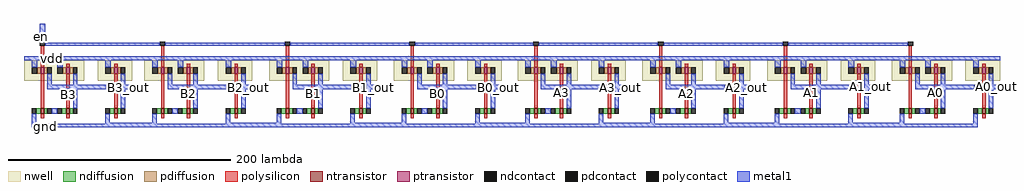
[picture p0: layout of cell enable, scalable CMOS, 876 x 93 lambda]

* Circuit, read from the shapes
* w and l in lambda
.subckt enable A0 A0_out A1 A1_out A2 A2_out A3 A3_out B0 B0_out B1 B1_out B2 B2_out B3 B3_out en gnd vdd
M1 n1 en gnd VSUBS nfet w=5 l=3
M2 n2 B3 n1 VSUBS nfet w=5 l=3
M3 B3_out n2 gnd VSUBS nfet w=5 l=3
M4 n3 en gnd VSUBS nfet w=5 l=3
M5 n4 B2 n3 VSUBS nfet w=5 l=3
M6 B2_out n4 gnd VSUBS nfet w=5 l=3
M7 n5 en gnd VSUBS nfet w=5 l=3
M8 n6 B1 n5 VSUBS nfet w=5 l=3
M9 B1_out n6 gnd VSUBS nfet w=5 l=3
M10 n7 en gnd VSUBS nfet w=5 l=3
M11 n8 B0 n7 VSUBS nfet w=5 l=3
M12 B0_out n8 gnd VSUBS nfet w=5 l=3
M13 n9 en gnd VSUBS nfet w=5 l=3
M14 n10 A3 n9 VSUBS nfet w=5 l=3
M15 A3_out n10 gnd VSUBS nfet w=5 l=3
M16 n11 en gnd VSUBS nfet w=5 l=3
M17 n12 A2 n11 VSUBS nfet w=5 l=3
M18 A2_out n12 gnd VSUBS nfet w=5 l=3
M19 n13 en gnd VSUBS nfet w=5 l=3
M20 n14 A1 n13 VSUBS nfet w=5 l=3
M21 A1_out n14 gnd VSUBS nfet w=5 l=3
M22 n15 en gnd VSUBS nfet w=5 l=3
M23 n16 A0 n15 VSUBS nfet w=5 l=3
M24 A0_out n16 gnd VSUBS nfet w=5 l=3
M25 n2 en vdd n17 pfet w=6 l=3
M26 n2 B3 vdd n17 pfet w=6 l=3
M27 B3_out n2 vdd n18 pfet w=6 l=3
M28 n4 en vdd n19 pfet w=6 l=3
M29 n4 B2 vdd n19 pfet w=6 l=3
M30 B2_out n4 vdd n20 pfet w=6 l=3
M31 n6 en vdd n21 pfet w=6 l=3
M32 n6 B1 vdd n21 pfet w=6 l=3
M33 B1_out n6 vdd n22 pfet w=6 l=3
M34 n8 en vdd n23 pfet w=6 l=3
M35 n8 B0 vdd n23 pfet w=6 l=3
M36 B0_out n8 vdd n24 pfet w=6 l=3
M37 n10 en vdd n25 pfet w=6 l=3
M38 n10 A3 vdd n25 pfet w=6 l=3
M39 A3_out n10 vdd n26 pfet w=6 l=3
M40 n12 en vdd n27 pfet w=6 l=3
M41 n12 A2 vdd n27 pfet w=6 l=3
M42 A2_out n12 vdd n28 pfet w=6 l=3
M43 n14 en vdd n29 pfet w=6 l=3
M44 n14 A1 vdd n29 pfet w=6 l=3
M45 A1_out n14 vdd n30 pfet w=6 l=3
M46 n16 en vdd n31 pfet w=6 l=3
M47 n16 A0 vdd n31 pfet w=6 l=3
M48 A0_out n16 vdd n32 pfet w=6 l=3
.ends

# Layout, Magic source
magic
tech scmos
<< nwell >>
rect 44 32 98 50
rect 110 32 141 50
rect 152 32 206 50
rect 218 32 249 50
rect 264 32 318 50
rect 330 32 361 50
rect 376 32 430 50
rect 442 32 473 50
rect 487 32 541 50
rect 553 32 584 50
rect 599 32 653 50
rect 665 32 696 50
rect 711 32 765 50
rect 777 32 808 50
rect 823 32 877 50
rect 889 32 920 50
<< ntransistor >>
rect 59 2 62 7
rect 82 2 85 7
rect 125 2 128 7
rect 167 2 170 7
rect 190 2 193 7
rect 233 2 236 7
rect 279 2 282 7
rect 302 2 305 7
rect 345 2 348 7
rect 391 2 394 7
rect 414 2 417 7
rect 457 2 460 7
rect 502 2 505 7
rect 525 2 528 7
rect 568 2 571 7
rect 614 2 617 7
rect 637 2 640 7
rect 680 2 683 7
rect 726 2 729 7
rect 749 2 752 7
rect 792 2 795 7
rect 838 2 841 7
rect 861 2 864 7
rect 904 2 907 7
<< ptransistor >>
rect 59 38 62 44
rect 82 38 85 44
rect 125 38 128 44
rect 167 38 170 44
rect 190 38 193 44
rect 233 38 236 44
rect 279 38 282 44
rect 302 38 305 44
rect 345 38 348 44
rect 391 38 394 44
rect 414 38 417 44
rect 457 38 460 44
rect 502 38 505 44
rect 525 38 528 44
rect 568 38 571 44
rect 614 38 617 44
rect 637 38 640 44
rect 680 38 683 44
rect 726 38 729 44
rect 749 38 752 44
rect 792 38 795 44
rect 838 38 841 44
rect 861 38 864 44
rect 904 38 907 44
<< ndiffusion >>
rect 55 2 59 7
rect 62 2 65 7
rect 78 2 82 7
rect 85 2 88 7
rect 121 2 125 7
rect 128 2 131 7
rect 163 2 167 7
rect 170 2 173 7
rect 186 2 190 7
rect 193 2 196 7
rect 229 2 233 7
rect 236 2 239 7
rect 275 2 279 7
rect 282 2 285 7
rect 298 2 302 7
rect 305 2 308 7
rect 341 2 345 7
rect 348 2 351 7
rect 387 2 391 7
rect 394 2 397 7
rect 410 2 414 7
rect 417 2 420 7
rect 453 2 457 7
rect 460 2 463 7
rect 498 2 502 7
rect 505 2 508 7
rect 521 2 525 7
rect 528 2 531 7
rect 564 2 568 7
rect 571 2 574 7
rect 610 2 614 7
rect 617 2 620 7
rect 633 2 637 7
rect 640 2 643 7
rect 676 2 680 7
rect 683 2 686 7
rect 722 2 726 7
rect 729 2 732 7
rect 745 2 749 7
rect 752 2 755 7
rect 788 2 792 7
rect 795 2 798 7
rect 834 2 838 7
rect 841 2 844 7
rect 857 2 861 7
rect 864 2 867 7
rect 900 2 904 7
rect 907 2 910 7
<< pdiffusion >>
rect 56 38 59 44
rect 62 38 65 44
rect 79 38 82 44
rect 85 38 88 44
rect 122 38 125 44
rect 128 38 131 44
rect 164 38 167 44
rect 170 38 173 44
rect 187 38 190 44
rect 193 38 196 44
rect 230 38 233 44
rect 236 38 239 44
rect 276 38 279 44
rect 282 38 285 44
rect 299 38 302 44
rect 305 38 308 44
rect 342 38 345 44
rect 348 38 351 44
rect 388 38 391 44
rect 394 38 397 44
rect 411 38 414 44
rect 417 38 420 44
rect 454 38 457 44
rect 460 38 463 44
rect 499 38 502 44
rect 505 38 508 44
rect 522 38 525 44
rect 528 38 531 44
rect 565 38 568 44
rect 571 38 574 44
rect 611 38 614 44
rect 617 38 620 44
rect 634 38 637 44
rect 640 38 643 44
rect 677 38 680 44
rect 683 38 686 44
rect 723 38 726 44
rect 729 38 732 44
rect 746 38 749 44
rect 752 38 755 44
rect 789 38 792 44
rect 795 38 798 44
rect 835 38 838 44
rect 841 38 844 44
rect 858 38 861 44
rect 864 38 867 44
rect 901 38 904 44
rect 907 38 910 44
<< ndcontact >>
rect 51 2 55 7
rect 65 2 69 7
rect 74 2 78 7
rect 88 2 92 7
rect 117 2 121 7
rect 131 2 135 7
rect 159 2 163 7
rect 173 2 177 7
rect 182 2 186 7
rect 196 2 200 7
rect 225 2 229 7
rect 239 2 243 7
rect 271 2 275 7
rect 285 2 289 7
rect 294 2 298 7
rect 308 2 312 7
rect 337 2 341 7
rect 351 2 355 7
rect 383 2 387 7
rect 397 2 401 7
rect 406 2 410 7
rect 420 2 424 7
rect 449 2 453 7
rect 463 2 467 7
rect 494 2 498 7
rect 508 2 512 7
rect 517 2 521 7
rect 531 2 535 7
rect 560 2 564 7
rect 574 2 578 7
rect 606 2 610 7
rect 620 2 624 7
rect 629 2 633 7
rect 643 2 647 7
rect 672 2 676 7
rect 686 2 690 7
rect 718 2 722 7
rect 732 2 736 7
rect 741 2 745 7
rect 755 2 759 7
rect 784 2 788 7
rect 798 2 802 7
rect 830 2 834 7
rect 844 2 848 7
rect 853 2 857 7
rect 867 2 871 7
rect 896 2 900 7
rect 910 2 914 7
<< pdcontact >>
rect 51 38 56 44
rect 65 38 69 44
rect 74 38 79 44
rect 88 38 92 44
rect 117 38 122 44
rect 131 38 135 44
rect 159 38 164 44
rect 173 38 177 44
rect 182 38 187 44
rect 196 38 200 44
rect 225 38 230 44
rect 239 38 243 44
rect 271 38 276 44
rect 285 38 289 44
rect 294 38 299 44
rect 308 38 312 44
rect 337 38 342 44
rect 351 38 355 44
rect 383 38 388 44
rect 397 38 401 44
rect 406 38 411 44
rect 420 38 424 44
rect 449 38 454 44
rect 463 38 467 44
rect 494 38 499 44
rect 508 38 512 44
rect 517 38 522 44
rect 531 38 535 44
rect 560 38 565 44
rect 574 38 578 44
rect 606 38 611 44
rect 620 38 624 44
rect 629 38 634 44
rect 643 38 647 44
rect 672 38 677 44
rect 686 38 690 44
rect 718 38 723 44
rect 732 38 736 44
rect 741 38 746 44
rect 755 38 759 44
rect 784 38 789 44
rect 798 38 802 44
rect 830 38 835 44
rect 844 38 848 44
rect 853 38 858 44
rect 867 38 871 44
rect 896 38 901 44
rect 910 38 914 44
<< polysilicon >>
rect 59 44 62 63
rect 82 44 85 47
rect 125 44 128 47
rect 167 44 170 63
rect 190 44 193 47
rect 233 44 236 47
rect 279 44 282 63
rect 302 44 305 47
rect 345 44 348 47
rect 391 44 394 63
rect 414 44 417 47
rect 457 44 460 47
rect 502 44 505 63
rect 525 44 528 47
rect 568 44 571 47
rect 614 44 617 63
rect 637 44 640 47
rect 680 44 683 47
rect 726 44 729 63
rect 749 44 752 47
rect 792 44 795 47
rect 838 44 841 63
rect 861 44 864 47
rect 904 44 907 47
rect 59 7 62 38
rect 82 7 85 38
rect 125 28 128 38
rect 123 24 128 28
rect 125 7 128 24
rect 167 7 170 38
rect 190 7 193 38
rect 233 28 236 38
rect 231 24 236 28
rect 233 7 236 24
rect 279 7 282 38
rect 302 7 305 38
rect 345 28 348 38
rect 343 24 348 28
rect 345 7 348 24
rect 391 7 394 38
rect 414 7 417 38
rect 457 28 460 38
rect 455 24 460 28
rect 457 7 460 24
rect 502 7 505 38
rect 525 7 528 38
rect 568 28 571 38
rect 566 24 571 28
rect 568 7 571 24
rect 614 7 617 38
rect 637 7 640 38
rect 680 28 683 38
rect 678 24 683 28
rect 680 7 683 24
rect 726 7 729 38
rect 749 7 752 38
rect 792 28 795 38
rect 790 24 795 28
rect 792 7 795 24
rect 838 7 841 38
rect 861 7 864 38
rect 904 28 907 38
rect 902 24 907 28
rect 904 7 907 24
rect 59 -2 62 2
rect 82 -2 85 2
rect 125 -2 128 2
rect 167 -2 170 2
rect 190 -2 193 2
rect 233 -2 236 2
rect 279 -2 282 2
rect 302 -2 305 2
rect 345 -2 348 2
rect 391 -2 394 2
rect 414 -2 417 2
rect 457 -2 460 2
rect 502 -2 505 2
rect 525 -2 528 2
rect 568 -2 571 2
rect 614 -2 617 2
rect 637 -2 640 2
rect 680 -2 683 2
rect 726 -2 729 2
rect 749 -2 752 2
rect 792 -2 795 2
rect 838 -2 841 2
rect 861 -2 864 2
rect 904 -2 907 2
<< polycontact >>
rect 58 63 63 67
rect 166 63 171 67
rect 278 63 283 67
rect 390 63 395 67
rect 501 63 506 67
rect 613 63 618 67
rect 725 63 730 67
rect 837 63 842 67
rect 118 24 123 28
rect 226 24 231 28
rect 338 24 343 28
rect 450 24 455 28
rect 561 24 566 28
rect 673 24 678 28
rect 785 24 790 28
rect 897 24 902 28
<< metal1 >>
rect 58 67 63 83
rect 63 63 166 66
rect 171 63 278 66
rect 283 63 390 66
rect 395 63 501 66
rect 506 63 613 66
rect 618 63 725 66
rect 730 63 837 66
rect 44 50 920 54
rect 51 44 56 50
rect 74 44 79 50
rect 117 44 122 50
rect 159 44 164 50
rect 182 44 187 50
rect 225 44 230 50
rect 271 44 276 50
rect 294 44 299 50
rect 337 44 342 50
rect 383 44 388 50
rect 406 44 411 50
rect 449 44 454 50
rect 494 44 499 50
rect 517 44 522 50
rect 560 44 565 50
rect 606 44 611 50
rect 629 44 634 50
rect 672 44 677 50
rect 718 44 723 50
rect 741 44 746 50
rect 784 44 789 50
rect 830 44 835 50
rect 853 44 858 50
rect 896 44 901 50
rect 65 28 69 38
rect 88 28 92 38
rect 131 28 135 38
rect 173 28 177 38
rect 196 28 200 38
rect 239 28 243 38
rect 285 28 289 38
rect 308 28 312 38
rect 351 28 355 38
rect 397 28 401 38
rect 420 28 424 38
rect 463 28 467 38
rect 508 28 512 38
rect 531 28 535 38
rect 574 28 578 38
rect 620 28 624 38
rect 643 28 647 38
rect 686 28 690 38
rect 732 28 736 38
rect 755 28 759 38
rect 798 28 802 38
rect 844 28 848 38
rect 867 28 871 38
rect 910 28 914 38
rect 65 24 118 28
rect 131 24 141 28
rect 173 24 226 28
rect 239 24 249 28
rect 285 24 338 28
rect 351 24 361 28
rect 397 24 450 28
rect 463 24 473 28
rect 508 24 561 28
rect 574 24 584 28
rect 620 24 673 28
rect 686 24 696 28
rect 732 24 785 28
rect 798 24 808 28
rect 844 24 897 28
rect 910 24 920 28
rect 88 7 92 24
rect 131 7 135 24
rect 196 7 200 24
rect 239 7 243 24
rect 308 7 312 24
rect 351 7 355 24
rect 420 7 424 24
rect 463 7 467 24
rect 531 7 535 24
rect 574 7 578 24
rect 643 7 647 24
rect 686 7 690 24
rect 755 7 759 24
rect 798 7 802 24
rect 867 7 871 24
rect 910 7 914 24
rect 69 2 74 7
rect 177 2 182 7
rect 289 2 294 7
rect 401 2 406 7
rect 512 2 517 7
rect 624 2 629 7
rect 736 2 741 7
rect 848 2 853 7
rect 51 -7 55 2
rect 117 -6 121 2
rect 159 -6 163 2
rect 117 -7 163 -6
rect 225 -6 229 2
rect 271 -6 275 2
rect 225 -7 275 -6
rect 337 -6 341 2
rect 383 -6 387 2
rect 337 -7 387 -6
rect 449 -6 453 2
rect 494 -6 498 2
rect 449 -7 498 -6
rect 560 -6 564 2
rect 606 -6 610 2
rect 560 -7 610 -6
rect 672 -6 676 2
rect 718 -6 722 2
rect 672 -7 722 -6
rect 784 -6 788 2
rect 830 -6 834 2
rect 784 -7 834 -6
rect 896 -7 900 2
rect 51 -10 900 -7
<< labels >>
rlabel metal1 62 -10 65 -8 1 gnd
rlabel metal1 68 51 71 53 5 vdd
rlabel metal1 58 70 62 73 1 en
rlabel polysilicon 82 18 85 21 1 B3
rlabel polysilicon 190 19 193 22 1 B2
rlabel polysilicon 302 19 305 22 1 B1
rlabel polysilicon 414 19 417 22 1 B0
rlabel polysilicon 525 20 528 23 1 A3
rlabel polysilicon 637 19 640 22 1 A2
rlabel polysilicon 749 20 752 23 1 A1
rlabel polysilicon 861 20 864 23 1 A0
rlabel metal1 915 25 918 28 7 A0_out
rlabel metal1 802 25 805 28 1 A1_out
rlabel metal1 691 24 694 27 1 A2_out
rlabel metal1 578 24 581 27 1 A3_out
rlabel metal1 468 24 471 27 1 B0_out
rlabel metal1 356 24 359 27 1 B1_out
rlabel metal1 244 24 247 27 1 B2_out
rlabel metal1 136 24 139 27 1 B3_out
<< end >>
